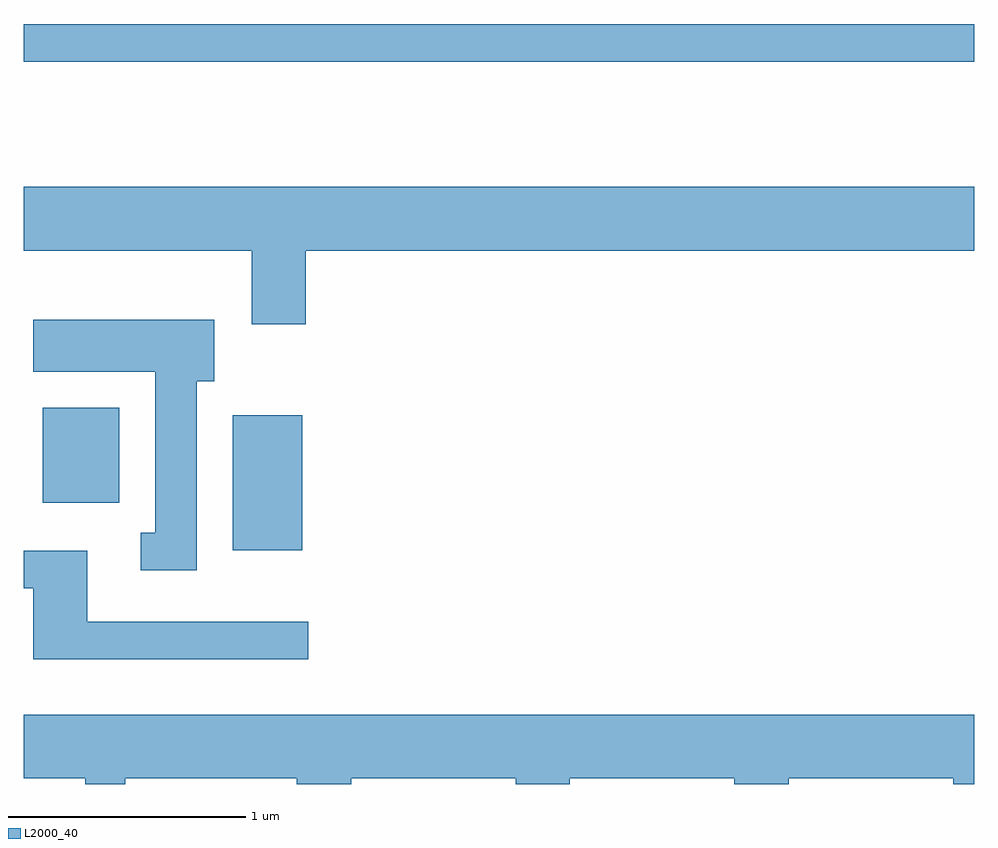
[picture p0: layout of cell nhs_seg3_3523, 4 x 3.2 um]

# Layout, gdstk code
import gdstk
lib = gdstk.Library(unit=1e-6, precision=1e-09)
def R(c, l, rs):  # rectangles x0, y0, x1, y1
    for r in rs: c.add(gdstk.rectangle(r[:2], r[2:], *l))
def P(c, l, *ps):  # polygons
    for p in ps: c.add(gdstk.Polygon(p, *l))
L2000_40 = (2000, 40)

nhs_seg3_3523 = lib.new_cell('nhs_seg3_3523')
R(nhs_seg3_3523, L2000_40, [(288.491,1226.876,288.784,1227.444), (287.691,1227.076,288.014,1227.474), (287.611,1228.931,291.611,1229.089)])
P(nhs_seg3_3523, L2000_40, [(288.799,1228.136),(291.611,1228.136),(291.611,1228.404),(287.611,1228.404),(287.611,1228.136),(288.571,1228.136),(288.571,1227.826),(288.799,1227.826)],
  [(288.339,1227.586),(288.414,1227.586),(288.414,1227.844),(287.651,1227.844),(287.651,1227.626),(288.166,1227.626),(288.166,1226.949),(288.103,1226.949),(288.103,1226.791),(288.339,1226.791)],
  [(288.808,1226.574),(287.879,1226.574),(287.879,1226.874),(287.611,1226.874),(287.611,1226.716),(287.651,1226.716),(287.651,1226.416),(288.808,1226.416)],
  [(288.039,1225.916),(288.761,1225.916),(288.761,1225.892),(288.989,1225.892),(288.989,1225.916),(289.681,1225.916),(289.681,1225.892),(289.909,1225.892),(289.909,1225.916),(290.601,1225.916),(290.601,1225.892),(290.829,1225.892),(290.829,1225.916),(291.521,1225.916),(291.521,1225.892),(291.611,1225.892),(291.611,1226.184),(287.611,1226.184),(287.611,1225.916),(287.871,1225.916),(287.871,1225.892),(288.039,1225.892)])

lib.write_gds('nhs_seg3_3523.gds')
